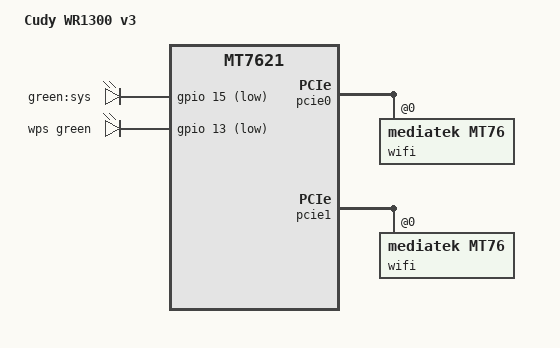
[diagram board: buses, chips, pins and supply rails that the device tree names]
// SPDX-License-Identifier: GPL-2.0-or-later OR MIT

#include "mt7621_cudy_wr1300.dtsi"

/ {
	compatible = "cudy,wr1300-v3", "mediatek,mt7621-soc";
	model = "Cudy WR1300 v3";

	leds {
		compatible = "gpio-leds";

		led_sys: sys {
			label = "green:sys";
			gpios = <&gpio 15 GPIO_ACTIVE_LOW>;
		};

		wps {
			function = LED_FUNCTION_WPS;
			color = <LED_COLOR_ID_GREEN>;
			gpios = <&gpio 13 GPIO_ACTIVE_LOW>;
		};
	};
};

&pcie0 {
	wifi@0,0 {
		compatible = "mediatek,mt76";
		reg = <0x0000 0 0 0 0>;
		nvmem-cells = <&eeprom_factory_0>, <&macaddr_bdinfo_de00 0>;
		nvmem-cell-names = "eeprom", "mac-address";
		ieee80211-freq-limit = <2400000 2500000>;

		led {
			led-sources = <0>;
			led-active-low;
		};
	};
};

&pcie1 {
	wifi@0,0 {
		compatible = "mediatek,mt76";
		reg = <0x0000 0 0 0 0>;
		nvmem-cells = <&eeprom_factory_8000>, <&macaddr_bdinfo_de00 2>;
		nvmem-cell-names = "eeprom", "mac-address";
		ieee80211-freq-limit = <5000000 6000000>;
	};
};
